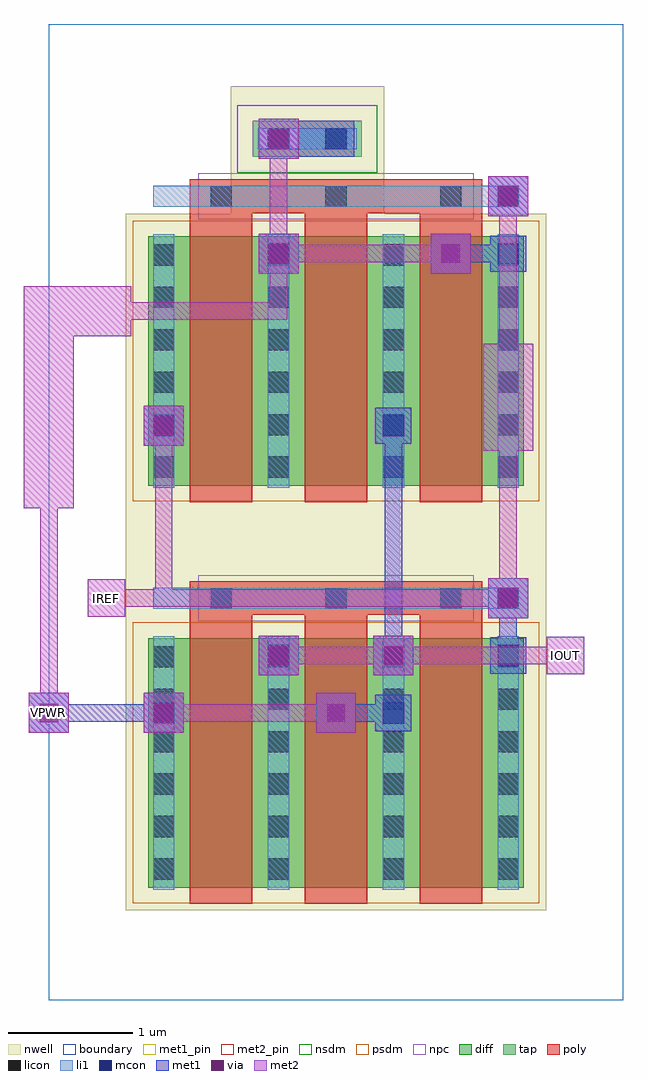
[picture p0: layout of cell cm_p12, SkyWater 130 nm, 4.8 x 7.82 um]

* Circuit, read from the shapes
.subckt cm_p12 IOUT IREF VPWR
XM1 IOUT IREF VPWR VPWR sky130_fd_pr__pfet_01v8 w=2 l=0.5 m=4
XM2 VPWR IREF IREF VPWR sky130_fd_pr__pfet_01v8 w=2 l=0.5 m=2
.ends

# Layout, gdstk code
import gdstk
lib = gdstk.Library(unit=1e-6, precision=1e-09)
def R(c, l, rs):  # rectangles x0, y0, x1, y1
    for r in rs: c.add(gdstk.rectangle(r[:2], r[2:], *l))
def A(c, l, x, y, w, h, nx, ny, dx, dy):  # array of equal rectangles
    R(c, l, [(x+i*dx, y+j*dy, x+i*dx+w, y+j*dy+h) for i in range(nx) for j in range(ny)])
nwell = (64, 20)
diff = (65, 20)
tap = (65, 44)
poly = (66, 20)
licon = (66, 44)
li1 = (67, 20)
mcon = (67, 44)
met1_pin = (68, 16)
met1 = (68, 20)
via = (68, 44)
met2_pin = (69, 16)
met2 = (69, 20)
nsdm = (93, 44)
psdm = (94, 20)
npc = (95, 20)
boundary = (235, 4)

cm_p12 = lib.new_cell('cm_p12')
R(cm_p12, nwell, [(0.615,0.72,3.985,6.3), (1.455,6.3,2.685,7.32)])
R(cm_p12, diff, [(0.795,0.9,3.805,2.9), (0.795,4.12,3.805,6.12)])
R(cm_p12, tap, [(1.635,6.755,2.505,7.045)])
A(cm_p12, poly, 1.13, 0.77, 0.5, 2.45, 3, 2, 0.92, 3.22)
R(cm_p12, poly, [(1.13,3.085,3.47,3.355), (1.13,6.305,3.47,6.575)])
A(cm_p12, licon, 0.835, 0.965, 0.17, 0.17, 4, 6, 0.92, 0.34)
A(cm_p12, licon, 1.295, 3.135, 0.17, 0.17, 3, 2, 0.92, 3.22)
A(cm_p12, licon, 0.835, 4.185, 0.17, 0.17, 4, 6, 0.92, 0.34)
R(cm_p12, licon, [(1.755,6.815,1.925,6.985), (2.215,6.815,2.385,6.985)])
A(cm_p12, li1, 0.835, 0.885, 0.17, 2.03, 4, 2, 0.92, 3.22)
R(cm_p12, li1, [(0.835,3.135,3.765,3.305), (0.835,6.355,3.765,6.525), (1.675,6.815,2.465,6.985)])
R(cm_p12, mcon, [(0.835,2.215,1.005,2.385), (2.675,2.215,2.845,2.385), (1.755,2.675,1.925,2.845), (3.595,2.675,3.765,2.845), (3.595,3.135,3.765,3.305), (0.835,4.515,1.005,4.685), (2.675,4.515,2.845,4.685), (1.755,5.895,1.925,6.065), (3.595,5.895,3.765,6.065), (3.595,6.355,3.765,6.525), (1.755,6.815,1.925,6.985), (2.215,6.815,2.385,6.985)])
R(cm_p12, met1_pin, [(-0.16,2.14,0.16,2.46)])
R(cm_p12, met1, [(-0.16,2.14,0.16,2.46), (0.76,2.14,1.08,2.46), (2.14,2.14,2.46,2.46), (0.775,2.155,1.065,2.445), (2.615,2.155,2.905,2.445), (-0.07,2.23,0.99,2.37), (2.23,2.23,2.83,2.37), (1.68,2.6,2,2.92), (2.6,2.6,2.92,2.92), (1.695,2.615,1.985,2.905), (3.535,2.615,3.825,2.905), (2.69,2.69,2.83,4.67), (3.61,2.69,3.75,3.29), (3.52,3.06,3.84,3.38), (3.535,3.075,3.825,3.365), (0.76,4.44,1.08,4.76), (0.775,4.455,1.065,4.745), (2.615,4.455,2.905,4.745), (1.68,5.82,2,6.14), (3.06,5.82,3.38,6.14), (1.695,5.835,1.985,6.125), (3.535,5.835,3.825,6.125), (3.15,5.91,3.75,6.05), (3.52,6.28,3.84,6.6), (3.535,6.295,3.825,6.585), (1.68,6.74,2,7.06), (1.695,6.755,2.445,7.045), (1.77,6.83,1.91,6.97)])
R(cm_p12, via, [(-0.075,2.225,0.075,2.375), (0.845,2.225,0.995,2.375), (2.225,2.225,2.375,2.375), (1.765,2.685,1.915,2.835), (2.685,2.685,2.835,2.835), (3.605,3.145,3.755,3.295), (0.845,4.525,0.995,4.675), (1.765,5.905,1.915,6.055), (3.145,5.905,3.295,6.055), (3.605,6.365,3.755,6.515), (1.765,6.825,1.915,6.975)])
R(cm_p12, met2_pin, [(3.99,2.61,4.29,2.91), (0.31,3.07,0.61,3.37)])
R(cm_p12, met2, [(-0.16,2.14,0.16,2.46), (0.76,2.14,1.08,2.46), (2.14,2.14,2.46,2.46), (-0.07,2.23,0.07,4.21), (0.85,2.23,2.37,2.37), (1.68,2.6,2,2.92), (2.6,2.6,2.92,2.92), (3.99,2.61,4.29,2.91), (1.77,2.69,4.21,2.83), (4.07,2.69,4.21,2.83), (3.52,3.06,3.84,3.38), (0.31,3.07,0.61,3.37), (0.39,3.15,0.53,3.29), (0.39,3.15,3.75,3.29), (0.85,3.15,0.99,4.67), (3.61,3.15,3.75,4.67), (-0.2,3.94,0.2,5.72), (3.48,4.4,3.88,5.26), (0.76,4.44,1.08,4.76), (3.61,4.99,3.75,6.51), (-0.2,5.32,0.66,5.72), (0.39,5.45,1.91,5.59), (1.77,5.45,1.91,6.05), (1.68,5.82,2,6.14), (3.06,5.82,3.38,6.14), (1.77,5.91,1.91,6.97), (1.77,5.91,3.29,6.05), (3.52,6.28,3.84,6.6), (1.68,6.74,2,7.06)])
R(cm_p12, nsdm, [(1.51,6.63,2.63,7.17)])
R(cm_p12, psdm, [(0.67,0.775,3.93,3.025), (0.67,3.995,3.93,6.245)])
R(cm_p12, npc, [(1.195,3.035,3.405,3.405), (1.195,6.255,3.405,6.625)])
R(cm_p12, boundary, [(0,0,4.6,7.82)])
cm_p12.add(gdstk.Label('VPWR', (0,2.3), layer=68, texttype=5))
cm_p12.add(gdstk.Label('IREF', (0.46,3.22), layer=69, texttype=5))
cm_p12.add(gdstk.Label('IOUT', (4.14,2.76), layer=69, texttype=5))
cm_p12.add(gdstk.Label('VPWR', (0,2.3), layer=68, texttype=16))
cm_p12.add(gdstk.Label('IREF', (0.46,3.22), layer=69, texttype=16))
cm_p12.add(gdstk.Label('IOUT', (4.14,2.76), layer=69, texttype=16))

lib.write_gds('cm_p12.gds')
